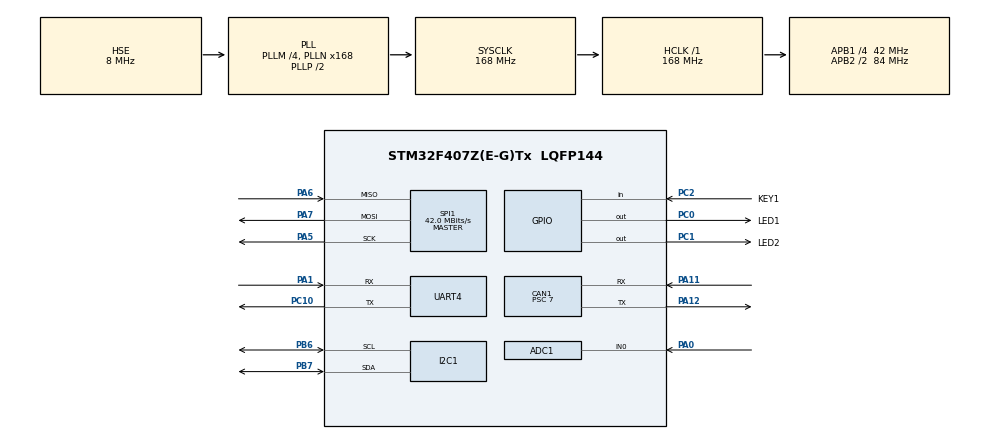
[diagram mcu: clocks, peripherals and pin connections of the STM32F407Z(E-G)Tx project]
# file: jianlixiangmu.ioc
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ADC1.Channel-0\#ChannelRegularConversion=ADC_CHANNEL_0
ADC1.NbrOfConversionFlag=1
ADC1.Rank-0\#ChannelRegularConversion=1
ADC1.SamplingTime-0\#ChannelRegularConversion=ADC_SAMPLETIME_3CYCLES
ADC1.master=1
CAN1.BS1=CAN_BS1_9TQ
CAN1.BS2=CAN_BS2_2TQ
CAN1.CalculateBaudRate=499999
CAN1.CalculateTimeBit=2000
CAN1.CalculateTimeQuantum=166.66666666666669
CAN1.Prescaler=7
Dma.Request0=SPI1_TX
Dma.SPI1_TX.0.Direction=DMA_MEMORY_TO_PERIPH
Dma.SPI1_TX.0.FIFOMode=DMA_FIFOMODE_DISABLE
Dma.SPI1_TX.0.Instance=DMA2_Stream3
Dma.SPI1_TX.0.MemDataAlignment=DMA_MDATAALIGN_BYTE
Dma.SPI1_TX.0.MemInc=DMA_MINC_ENABLE
Dma.SPI1_TX.0.Mode=DMA_NORMAL
Dma.SPI1_TX.0.PeriphDataAlignment=DMA_PDATAALIGN_BYTE
Dma.SPI1_TX.0.PeriphInc=DMA_PINC_DISABLE
Dma.SPI1_TX.0.Priority=DMA_PRIORITY_LOW
I2C1.I2C_Mode=I2C_Standard
Mcu.Family=STM32F4
Mcu.Name=STM32F407Z(E-G)Tx
Mcu.Package=LQFP144
NVIC.CAN1_RX0_IRQn=true\:2\:0\:true\:false\:true\:true\:true\:true
NVIC.DMA2_Stream3_IRQn=true\:3\:0\:true\:false\:true\:false\:true\:true
NVIC.PriorityGroup=NVIC_PRIORITYGROUP_4
NVIC.TIM6_DAC_IRQn=true\:4\:0\:true\:false\:true\:false\:true\:true
NVIC.TimeBase=TIM6_DAC_IRQn
NVIC.TimeBaseIP=TIM6
NVIC.UART4_IRQn=true\:5\:0\:true\:false\:true\:true\:true\:true
PA0-WKUP.Signal=ADCx_IN0
PA1.Mode=Asynchronous
PA1.Signal=UART4_RX
PA11.Mode=CAN_Activate
PA11.Signal=CAN1_RX
PA12.Mode=CAN_Activate
PA12.Signal=CAN1_TX
PA13.Mode=Serial_Wire
PA13.Signal=SYS_JTMS-SWDIO
PA14.Mode=Serial_Wire
PA14.Signal=SYS_JTCK-SWCLK
PA5.Mode=Full_Duplex_Master
PA5.Signal=SPI1_SCK
PA6.Mode=Full_Duplex_Master
PA6.Signal=SPI1_MISO
PA7.Mode=Full_Duplex_Master
PA7.Signal=SPI1_MOSI
PB6.Mode=I2C
PB6.Signal=I2C1_SCL
PB7.Mode=I2C
PB7.Signal=I2C1_SDA
PC0.GPIO_Label=LED1
PC0.PinState=GPIO_PIN_SET
PC0.Signal=GPIO_Output
PC1.GPIO_Label=LED2
PC1.PinState=GPIO_PIN_SET
PC1.Signal=GPIO_Output
PC10.Mode=Asynchronous
PC10.Signal=UART4_TX
PC14-OSC32_IN.Mode=LSE-External-Oscillator
PC14-OSC32_IN.Signal=RCC_OSC32_IN
PC15-OSC32_OUT.Mode=LSE-External-Oscillator
PC15-OSC32_OUT.Signal=RCC_OSC32_OUT
PC2.GPIO_Label=KEY1
PC2.GPIO_PuPd=GPIO_PULLUP
PC2.Signal=GPIO_Input
PH0-OSC_IN.Mode=HSE-External-Oscillator
PH0-OSC_IN.Signal=RCC_OSC_IN
PH1-OSC_OUT.Mode=HSE-External-Oscillator
PH1-OSC_OUT.Signal=RCC_OSC_OUT
ProjectManager.HeapSize=0x200
ProjectManager.StackSize=0x400
ProjectManager.TargetToolchain=MDK-ARM V5.32
RCC.48MHZClocksFreq_Value=84000000
RCC.AHBFreq_Value=168000000
RCC.APB1CLKDivider=RCC_HCLK_DIV4
RCC.APB1Freq_Value=42000000
RCC.APB1TimFreq_Value=84000000
RCC.APB2CLKDivider=RCC_HCLK_DIV2
RCC.APB2Freq_Value=84000000
RCC.APB2TimFreq_Value=168000000
RCC.CortexFreq_Value=168000000
RCC.HCLKFreq_Value=168000000
RCC.HSE_VALUE=8000000
RCC.HSI_VALUE=16000000
RCC.PLLM=4
RCC.PLLN=168
RCC.PLLSourceVirtual=RCC_PLLSOURCE_HSE
RCC.SYSCLKFreq_VALUE=168000000
RCC.SYSCLKSource=RCC_SYSCLKSOURCE_PLLCLK
RCC.VCOOutputFreq_Value=336000000
SH.ADCx_IN0.0=ADC1_IN0,IN0
SPI1.CalculateBaudRate=42.0 MBits/s
SPI1.Direction=SPI_DIRECTION_2LINES
SPI1.Mode=SPI_MODE_MASTER
SPI1.VirtualType=VM_MASTER
UART4.VirtualMode=Asynchronous
VP_CRC_VS_CRC.Mode=CRC_Activate
VP_IWDG_VS_IWDG.Mode=IWDG_Activate
VP_SYS_VS_tim6.Mode=TIM6
board=custom

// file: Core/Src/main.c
/* USER CODE BEGIN Header */
/**
  ******************************************************************************
  * @file           : main.c
  * @brief          : Main program body
  ******************************************************************************
  * @attention
  *
  * Copyright (c) 2026 STMicroelectronics.
  * All rights reserved.
  *
  * This software is licensed under terms that can be found in the LICENSE file
  * in the root directory of this software component.
  * If no LICENSE file comes with this software, it is provided AS-IS.
  *
  ******************************************************************************
  */
/* USER CODE END Header */
#include "main.h"

/* USER CODE BEGIN Includes */
/* ---- FreeRTOS 内核 ---- */
#include "FreeRTOS.h"
#include "task.h"
#include "queue.h"

/* ---- App 业务层（任务 + 升级触发 + 向量表重定向）---- */
#include "../App/User/app_vectors_remap.h"
#include "../App/User/app_upgrade_trigger.h"
#include "../App/User/task_sensor.h"
#include "../App/User/task_oled.h"
#include "../App/User/task_can.h"
#include "../App/User/task_key_led.h"

/* ---- App 驱动层 ---- */
#include "../App/Drivers/can_app.h"
#include "../App/Drivers/i2c_sensors.h"
#include "../App/Drivers/adc_voltage.h"
#include "../App/Drivers/ssd1306.h"

/* ---- Bootloader 侧的通用驱动，App 里复用（W25Q64 / LED / KEY）---- */
#include "../Bootloader/Drivers/w25q64.h"
#include "../Bootloader/Drivers/led.h"
#include "../Bootloader/Drivers/key.h"

/* USER CODE END Includes */

ADC_HandleTypeDef hadc1;

CAN_HandleTypeDef hcan1;

CRC_HandleTypeDef hcrc;

I2C_HandleTypeDef hi2c1;

IWDG_HandleTypeDef hiwdg;

SPI_HandleTypeDef hspi1;
DMA_HandleTypeDef hdma_spi1_tx;

UART_HandleTypeDef huart4;

/* USER CODE BEGIN PV */
/* 传感器数据队列：一个给 OLED，一个给 CAN。
 * 一个生产者两个消费者如果共用一个队列就会互相抢帧，
 * 所以这里建两条独立队列，各自有一个采集任务往里 push。 */
static QueueHandle_t s_sensor_queue_oled = NULL;
static QueueHandle_t s_sensor_queue_can  = NULL;

/* 队列深度：最多缓存 4 帧传感器数据 */
#define SENSOR_QUEUE_LENGTH     4

/* USER CODE END PV */

void SystemClock_Config(void);
static void MX_GPIO_Init(void);
static void MX_DMA_Init(void);
static void MX_ADC1_Init(void);
static void MX_CAN1_Init(void);
static void MX_CRC_Init(void);
static void MX_I2C1_Init(void);
static void MX_IWDG_Init(void);
static void MX_SPI1_Init(void);
static void MX_UART4_Init(void);

/* USER CODE BEGIN 0 */

/* ============================================================================
 * FreeRTOS 钩子函数
 * FreeRTOSConfig.h 里打开了 configUSE_IDLE_HOOK / configCHECK_FOR_STACK_OVERFLOW
 * / configUSE_MALLOC_FAILED_HOOK，这三个钩子必须由应用层实现，否则链接报错。
 * ==========================================================================*/

/**
  * @brief 空闲任务钩子：没有任务就绪时让 CPU 进 WFI 省电
  *        注意：这里不能调用任何会阻塞的 API（idle 是最低优先级）
  */
void vApplicationIdleHook(void)
{
    __WFI();
}

/**
  * @brief 栈溢出钩子：开发阶段定位"哪个任务栈给小了"
  *        不实现时栈溢出会直接 HardFault，什么都看不到
  */
void vApplicationStackOverflowHook(TaskHandle_t xTask, char *pcTaskName)
{
    (void)xTask;
    (void)pcTaskName;
    taskDISABLE_INTERRUPTS();
    while (1) {
        /* 死在这里，调试时用 Watch 窗口看 pcTaskName 就知道是哪个任务 */
    }
}

/**
  * @brief 堆分配失败钩子：xTaskCreate / xQueueCreate 拿不到内存时进来
  *        常见原因：configTOTAL_HEAP_SIZE 设小了
  */
void vApplicationMallocFailedHook(void)
{
    taskDISABLE_INTERRUPTS();
    while (1) {
    }
}

/* USER CODE END 0 */

int main(void)
{

  /* USER CODE BEGIN 1 */
  /* 向量表重定向到 App 区（0x08020000）。
   * 必须在 HAL_Init() 之前——HAL 初始化过程中可能就有中断进来，
   * 晚了就会跳到 Bootloader 的向量表里去。 */
  app_set_vector_table();

  /* USER CODE END 1 */

  /* MCU Configuration--------------------------------------------------------*/

  /* Reset of all peripherals, Initializes the Flash interface and the Systick. */
  HAL_Init();

  /* Configure the system clock */
  SystemClock_Config();

  /* Initialize all configured peripherals */
  MX_GPIO_Init();
  MX_DMA_Init();
  MX_ADC1_Init();
  MX_CAN1_Init();
  MX_CRC_Init();
  MX_I2C1_Init();
  MX_IWDG_Init();
  MX_SPI1_Init();
  MX_UART4_Init();
  /* USER CODE BEGIN 2 */

  /* ---- 1. 驱动层初始化 ----
   * 外设本体（时钟、GPIO 复用、位时序）已经在上面 MX_xxx_Init() 里配好了，
   * 这里只做各模块自己的"业务初始化"：传感器指令、CAN 过滤器、Flash 校验等。 */
  w25q64_init();          /* SPI Flash：后续 OTA 升级要用它缓存固件 */
  i2c_sensors_init();     /* SHT30 + BH1750 上电配置 */
  ssd1306_init();         /* OLED 初始化（和传感器共用 I2C1） */
  adc_voltage_init();     /* ADC 电压采集（PA0） */
  can_app_init();         /* CAN 过滤器 + 启动 + 接收队列 + 中断 */
  led_init();             /* PC0/PC1 指示灯 */
  key_init();             /* PC2 按键 */

  /* ---- 2. 创建两个传感器数据队列 ---- */
  s_sensor_queue_oled = xQueueCreate(SENSOR_QUEUE_LENGTH, sizeof(sensor_data_t));
  s_sensor_queue_can  = xQueueCreate(SENSOR_QUEUE_LENGTH, sizeof(sensor_data_t));

  if (s_sensor_queue_oled == NULL || s_sensor_queue_can == NULL) {
      /* 堆不够：先把 LED 拉亮提示，然后停在这里 */
      LED_RUN_ON();
      while (1) {
      }
  }

  /* ---- 3. 创建任务 ----
   * 优先级：task_can(3) > task_sensor/task_oled(1) > task_key_led(0)
   * 两个采集任务各自持有自己的队列，互不干扰。 */
  task_sensor_create(s_sensor_queue_oled);
  task_sensor_create(s_sensor_queue_can);
  task_oled_create(s_sensor_queue_oled);
  task_can_create(s_sensor_queue_can);
  task_key_led_create();

  /* ---- 4. 启动调度器，正常情况下永不返回 ---- */
  vTaskStartScheduler();

  /* USER CODE END 2 */

  /* Infinite loop */
  while (1)
  {

  }
}

void SystemClock_Config(void)
{
  RCC_OscInitTypeDef RCC_OscInitStruct = {0};
  RCC_ClkInitTypeDef RCC_ClkInitStruct = {0};

  /** Configure the main internal regulator output voltage
  */
  __HAL_RCC_PWR_CLK_ENABLE();
  __HAL_PWR_VOLTAGESCALING_CONFIG(PWR_REGULATOR_VOLTAGE_SCALE1);

  /** Initializes the RCC Oscillators according to the specified parameters
  * in the RCC_OscInitTypeDef structure.
  */
  RCC_OscInitStruct.OscillatorType = RCC_OSCILLATORTYPE_LSI|RCC_OSCILLATORTYPE_HSE;
  RCC_OscInitStruct.HSEState = RCC_HSE_ON;
  RCC_OscInitStruct.LSIState = RCC_LSI_ON;
  RCC_OscInitStruct.PLL.PLLState = RCC_PLL_ON;
  RCC_OscInitStruct.PLL.PLLSource = RCC_PLLSOURCE_HSE;
  RCC_OscInitStruct.PLL.PLLM = 4;
  RCC_OscInitStruct.PLL.PLLN = 168;
  RCC_OscInitStruct.PLL.PLLP = RCC_PLLP_DIV2;
  RCC_OscInitStruct.PLL.PLLQ = 4;
  if (HAL_RCC_OscConfig(&RCC_OscInitStruct) != HAL_OK)
  {
    Error_Handler();
  }

  /** Initializes the CPU, AHB and APB buses clocks
  */
  RCC_ClkInitStruct.ClockType = RCC_CLOCKTYPE_HCLK|RCC_CLOCKTYPE_SYSCLK
                              |RCC_CLOCKTYPE_PCLK1|RCC_CLOCKTYPE_PCLK2;
  RCC_ClkInitStruct.SYSCLKSource = RCC_SYSCLKSOURCE_PLLCLK;
  RCC_ClkInitStruct.AHBCLKDivider = RCC_SYSCLK_DIV1;
  RCC_ClkInitStruct.APB1CLKDivider = RCC_HCLK_DIV4;
  RCC_ClkInitStruct.APB2CLKDivider = RCC_HCLK_DIV2;

  if (HAL_RCC_ClockConfig(&RCC_ClkInitStruct, FLASH_LATENCY_5) != HAL_OK)
  {
    Error_Handler();
  }
}

static void MX_ADC1_Init(void)
{

  ADC_ChannelConfTypeDef sConfig = {0};

  /** Configure the global features of the ADC (Clock, Resolution, Data Alignment and number of conversion)
  */
  hadc1.Instance = ADC1;
  hadc1.Init.ClockPrescaler = ADC_CLOCK_SYNC_PCLK_DIV4;
  hadc1.Init.Resolution = ADC_RESOLUTION_12B;
  hadc1.Init.ScanConvMode = DISABLE;
  hadc1.Init.ContinuousConvMode = DISABLE;
  hadc1.Init.DiscontinuousConvMode = DISABLE;
  hadc1.Init.ExternalTrigConvEdge = ADC_EXTERNALTRIGCONVEDGE_NONE;
  hadc1.Init.ExternalTrigConv = ADC_SOFTWARE_START;
  hadc1.Init.DataAlign = ADC_DATAALIGN_RIGHT;
  hadc1.Init.NbrOfConversion = 1;
  hadc1.Init.DMAContinuousRequests = DISABLE;
  hadc1.Init.EOCSelection = ADC_EOC_SINGLE_CONV;
  if (HAL_ADC_Init(&hadc1) != HAL_OK)
  {
    Error_Handler();
  }

  /** Configure for the selected ADC regular channel its corresponding rank in the sequencer and its sample time.
  */
  sConfig.Channel = ADC_CHANNEL_0;
  sConfig.Rank = 1;
  sConfig.SamplingTime = ADC_SAMPLETIME_3CYCLES;
  if (HAL_ADC_ConfigChannel(&hadc1, &sConfig) != HAL_OK)
  {
    Error_Handler();
  }

}

static void MX_CAN1_Init(void)
{

  hcan1.Instance = CAN1;
  hcan1.Init.Prescaler = 7;
  hcan1.Init.Mode = CAN_MODE_NORMAL;
  hcan1.Init.SyncJumpWidth = CAN_SJW_1TQ;
  hcan1.Init.TimeSeg1 = CAN_BS1_9TQ;
  hcan1.Init.TimeSeg2 = CAN_BS2_2TQ;
  hcan1.Init.TimeTriggeredMode = DISABLE;
  hcan1.Init.AutoBusOff = DISABLE;
  hcan1.Init.AutoWakeUp = DISABLE;
  hcan1.Init.AutoRetransmission = DISABLE;
  hcan1.Init.ReceiveFifoLocked = DISABLE;
  hcan1.Init.TransmitFifoPriority = DISABLE;
  if (HAL_CAN_Init(&hcan1) != HAL_OK)
  {
    Error_Handler();
  }

}

static void MX_CRC_Init(void)
{

  hcrc.Instance = CRC;
  if (HAL_CRC_Init(&hcrc) != HAL_OK)
  {
    Error_Handler();
  }

}

static void MX_I2C1_Init(void)
{

  hi2c1.Instance = I2C1;
  hi2c1.Init.ClockSpeed = 100000;
  hi2c1.Init.DutyCycle = I2C_DUTYCYCLE_2;
  hi2c1.Init.OwnAddress1 = 0;
  hi2c1.Init.AddressingMode = I2C_ADDRESSINGMODE_7BIT;
  hi2c1.Init.DualAddressMode = I2C_DUALADDRESS_DISABLE;
  hi2c1.Init.OwnAddress2 = 0;
  hi2c1.Init.GeneralCallMode = I2C_GENERALCALL_DISABLE;
  hi2c1.Init.NoStretchMode = I2C_NOSTRETCH_DISABLE;
  if (HAL_I2C_Init(&hi2c1) != HAL_OK)
  {
    Error_Handler();
  }

}

static void MX_IWDG_Init(void)
{

  hiwdg.Instance = IWDG;
  hiwdg.Init.Prescaler = IWDG_PRESCALER_4;
  hiwdg.Init.Reload = 4095;
  if (HAL_IWDG_Init(&hiwdg) != HAL_OK)
  {
    Error_Handler();
  }

}

static void MX_SPI1_Init(void)
{

  /* SPI1 parameter configuration*/
  hspi1.Instance = SPI1;
  hspi1.Init.Mode = SPI_MODE_MASTER;
  hspi1.Init.Direction = SPI_DIRECTION_2LINES;
  hspi1.Init.DataSize = SPI_DATASIZE_8BIT;
  hspi1.Init.CLKPolarity = SPI_POLARITY_LOW;
  hspi1.Init.CLKPhase = SPI_PHASE_1EDGE;
  hspi1.Init.NSS = SPI_NSS_SOFT;
  hspi1.Init.BaudRatePrescaler = SPI_BAUDRATEPRESCALER_2;
  hspi1.Init.FirstBit = SPI_FIRSTBIT_MSB;
  hspi1.Init.TIMode = SPI_TIMODE_DISABLE;
  hspi1.Init.CRCCalculation = SPI_CRCCALCULATION_DISABLE;
  hspi1.Init.CRCPolynomial = 10;
  if (HAL_SPI_Init(&hspi1) != HAL_OK)
  {
    Error_Handler();
  }

}

static void MX_UART4_Init(void)
{

  huart4.Instance = UART4;
  huart4.Init.BaudRate = 115200;
  huart4.Init.WordLength = UART_WORDLENGTH_8B;
  huart4.Init.StopBits = UART_STOPBITS_1;
  huart4.Init.Parity = UART_PARITY_NONE;
  huart4.Init.Mode = UART_MODE_TX_RX;
  huart4.Init.HwFlowCtl = UART_HWCONTROL_NONE;
  huart4.Init.OverSampling = UART_OVERSAMPLING_16;
  if (HAL_UART_Init(&huart4) != HAL_OK)
  {
    Error_Handler();
  }

}

static void MX_DMA_Init(void)
{

  /* DMA controller clock enable */
  __HAL_RCC_DMA2_CLK_ENABLE();

  /* DMA interrupt init */
  /* DMA2_Stream3_IRQn interrupt configuration */
  HAL_NVIC_SetPriority(DMA2_Stream3_IRQn, 3, 0);
  HAL_NVIC_EnableIRQ(DMA2_Stream3_IRQn);

}

static void MX_GPIO_Init(void)
{
  GPIO_InitTypeDef GPIO_InitStruct = {0};

  /* GPIO Ports Clock Enable */
  __HAL_RCC_GPIOC_CLK_ENABLE();
  __HAL_RCC_GPIOH_CLK_ENABLE();
  __HAL_RCC_GPIOA_CLK_ENABLE();
  __HAL_RCC_GPIOB_CLK_ENABLE();

  /*Configure GPIO pin Output Level */
  HAL_GPIO_WritePin(GPIOC, LED1_Pin|LED2_Pin, GPIO_PIN_SET);

  /*Configure GPIO pins : LED1_Pin LED2_Pin */
  GPIO_InitStruct.Pin = LED1_Pin|LED2_Pin;
  GPIO_InitStruct.Mode = GPIO_MODE_OUTPUT_PP;
  GPIO_InitStruct.Pull = GPIO_NOPULL;
  GPIO_InitStruct.Speed = GPIO_SPEED_FREQ_LOW;
  HAL_GPIO_Init(GPIOC, &GPIO_InitStruct);

  /*Configure GPIO pin : KEY1_Pin */
  GPIO_InitStruct.Pin = KEY1_Pin;
  GPIO_InitStruct.Mode = GPIO_MODE_INPUT;
  GPIO_InitStruct.Pull = GPIO_PULLUP;
  HAL_GPIO_Init(KEY1_GPIO_Port, &GPIO_InitStruct);

}

/* USER CODE BEGIN 4 */

/**
  * @brief CAN 接收中断回调 —— 由 stm32f4xx_it.c 的 CAN1_RX0_IRQHandler
  *        调 HAL_CAN_IRQHandler(&hcan1) 后间接进来
  *        这里只把帧塞进 FreeRTOS 队列，真正的解析在 CAN 任务里做
  */
void HAL_CAN_RxFifo0MsgPendingCallback(CAN_HandleTypeDef *hcan)
{
    (void)hcan;
    can_app_rx0_callback();
}

/* USER CODE END 4 */

void HAL_TIM_PeriodElapsedCallback(TIM_HandleTypeDef *htim)
{
  if (htim->Instance == TIM6)
  {
    HAL_IncTick();
  }
}

void Error_Handler(void)
{
  __disable_irq();
  while (1)
  {
  }
}
